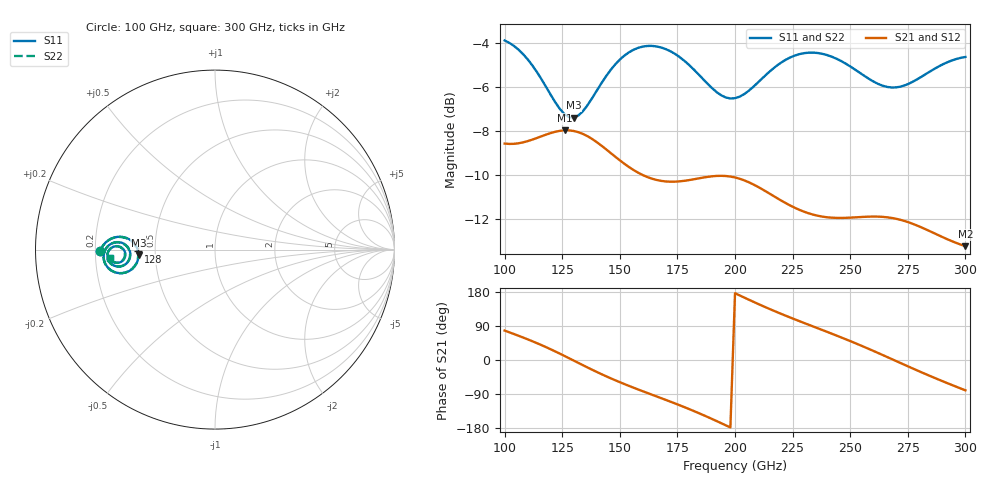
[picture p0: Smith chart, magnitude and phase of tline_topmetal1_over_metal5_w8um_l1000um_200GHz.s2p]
#  GHZ S DB R 50
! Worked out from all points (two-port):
!   101 points, 100 GHz to 300 GHz, reference 50 ohm
!   highest |S21| = -7.96 dB at 126 GHz (marker M1); lowest = -13.2 dB at 300 GHz (marker M2)
!   |S21| within 3 dB of the highest: start of sweep to 217 GHz
!   lowest |S11| = -7.4 dB at 130 GHz (marker M3), VSWR 2.49, Z = 20.1 - j1.58 ohm
!   |S11| at or under -10 dB: nowhere
!   |S22| runs from -7.3 to -3.9 dB; largest |S21 - S12| = 4.6e-14
!   S11 on the Smith chart (normalised r, x): 100 GHz: 0.22, -0.01; 128 GHz: 0.40, -0.01; 300 GHz: 0.26, -0.04
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100  -3.88 -179.3  -8.56 77.6  -8.56 77.6  -3.87 -179.2
114  -5.31 172.4  -8.31 44.5  -8.31 44.5  -5.29 172.6
126  -7.22 178.6  -7.96 10.7  -7.96 10.7  -7.19 178.7
128  -7.36 -178.6  -7.96 4.6  -7.96 4.6  -7.33 -178.5
130  -7.38 -175.7  -7.99 -1.5  -7.99 -1.5  -7.35 -175.6
134  -7.09 -170.3  -8.12 -13.7  -8.12 -13.7  -7.06 -170.3
142  -5.82 -165.6  -8.65 -37.2  -8.65 -37.2  -5.80 -165.7
148  -4.97 -166.8  -9.16 -53.4  -9.16 -53.4  -4.95 -166.9
158  -4.21 -172.4  -9.88 -77.9  -9.88 -77.9  -4.20 -172.4
168  -4.20 -178.7  -10.25 -100.8  -10.25 -100.8  -4.19 -178.7
184  -5.40 175.6  -10.15 -139.5  -10.15 -139.5  -5.38 175.7
192  -6.22 178.0  -10.03 -161.1  -10.03 -161.1  -6.20 178.1
200  -6.50 -175.9  -10.10 176.2  -10.10 176.2  -6.47 -175.8
208  -5.98 -170.9  -10.42 153.6  -10.42 153.6  -5.95 -170.9
216  -5.20 -170.1  -10.90 132.1  -10.90 132.1  -5.18 -170.1
224  -4.65 -172.4  -11.37 112.0  -11.37 112.0  -4.63 -172.4
234  -4.43 -176.7  -11.79 88.3  -11.79 88.3  -4.41 -176.7
250  -5.06 178.1  -11.92 50.0  -11.92 50.0  -5.03 178.2
260  -5.74 179.1  -11.87 24.2  -11.87 24.2  -5.70 179.2
268  -6.02 -177.4  -11.94 2.5  -11.94 2.5  -5.98 -177.4
284  -5.33 -172.2  -12.51 -40.4  -12.51 -40.4  -5.30 -172.3
300  -4.63 -175.3  -13.22 -80.1  -13.22 -80.1  -4.62 -175.4
